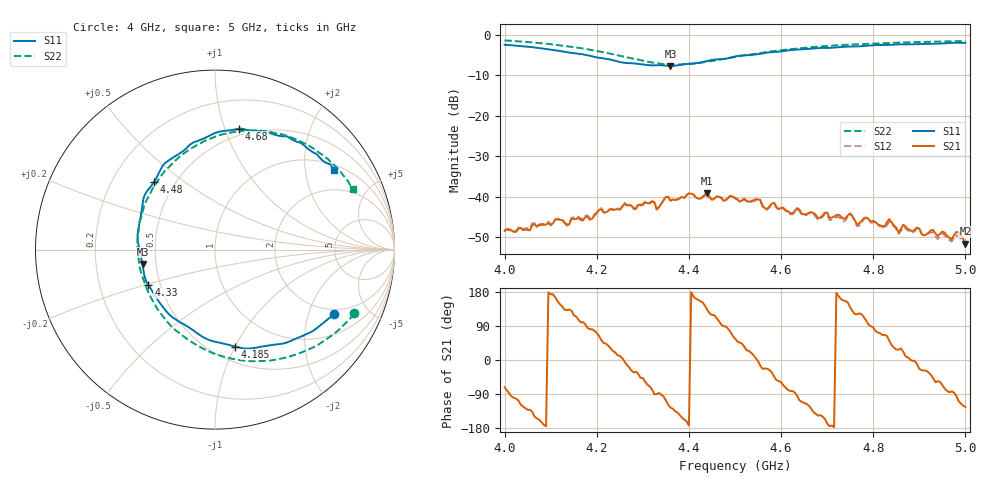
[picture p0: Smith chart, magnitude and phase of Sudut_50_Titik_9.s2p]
# Hz S RI R 50
! CMT, C1220, 16058040, 17.2.0/1
! Date: 15/08/2018 11:31:32
! Data: Format (Calibration Info)
! Freq  S11: Re/Im (F2)  S21: Re/Im (F2)  S12: Re/Im (F2)  S22: Re/Im (F2)
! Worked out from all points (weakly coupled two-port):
!   201 points, 4 GHz to 5 GHz, reference 50 ohm
!   highest |S21| = -39.17 dB at 4.44 GHz (marker M1); lowest = -51.6 dB at 5 GHz (marker M2)
!   lowest |S11| = -7.7 dB at 4.36 GHz (marker M3), VSWR 2.40, Z = 21 - j4.02 ohm
!   |S11| at or under -10 dB: nowhere
!   |S22| runs from -7.4 to -1.4 dB; largest |S21 - S12| = 0.00042
!   S11 on the Smith chart (normalised r, x): 4 GHz: 1.80, -2.98; 4.185 GHz: 0.64, -1.00; 4.33 GHz: 0.43, -0.21; 4.48 GHz: 0.38, +0.39; 4.68 GHz: 0.44, +1.12; 5 GHz: 1.18, +2.85
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4e9  0.6647 -0.3569  0.00116 -0.00358  0.00134 -0.00362  0.7747 -0.3559
4.17e9  0.1626 -0.5509  -0.000866 0.005  -0.000969 0.00518  0.2736 -0.6201
4.185e9  0.11 -0.5401  0.000781 0.00512  0.000773 0.00537  0.2094 -0.622
4.26e9  -0.1716 -0.4172  0.00812 -0.000498  0.00836 -0.000487  -0.1172 -0.5232
4.33e9  -0.3705 -0.1988  1.63e-05 -0.00691  -0.000111 -0.00699  -0.3556 -0.2693
4.335e9  -0.3807 -0.1813  0.000363 -0.00739  0.000183 -0.0074  -0.3674 -0.2461
4.36e9  -0.4039 -0.0794  -0.00519 -0.0072  -0.00537 -0.00719  -0.4128 -0.126
4.44e9  -0.4035 0.2517  -0.00733 0.0082  -0.00715 0.00822  -0.3878 0.2615
4.48e9  -0.3407 0.3764  0.000191 0.00908  0.000451 0.00895  -0.3001 0.4108
4.5e9  -0.3026 0.4468  0.00529 0.00806  0.00524 0.00791  -0.2455 0.4715
4.67e9  0.1158 0.6693  -0.00459 -0.00428  -0.00454 -0.00404  0.2479 0.6636
4.68e9  0.1346 0.6736  -0.00452 -0.00295  -0.00438 -0.00277  0.273 0.6603
4.75e9  0.2902 0.6556  -0.00467 0.00408  -0.00463 0.00382  0.4341 0.6205
4.765e9  0.3227 0.6434  -0.00229 0.00387  -0.00225 0.00367  0.4633 0.6094
4.785e9  0.3707 0.6318  -0.00125 0.00537  -0.00137 0.00527  0.5018 0.5901
4.825e9  0.4277 0.6143  0.00173 0.0039  0.00175 0.00365  0.5685 0.5492
4.835e9  0.4462 0.6049  0.00336 0.00405  0.00306 0.00382  0.5829 0.5383
4.855e9  0.478 0.5941  0.0032 0.00164  0.00305 0.00158  0.613 0.5162
4.865e9  0.4889 0.5867  0.00415 0.00168  0.00385 0.00166  0.6266 0.5062
4.97e9  0.6396 0.4759  0.000375 -0.00293  0.000287 -0.00277  0.7432 0.3769
4.985e9  0.6486 0.4663  -0.00109 -0.00344  -0.000919 -0.00311  0.7551 0.3556
5e9  0.6614 0.4431  -0.00146 -0.00218  -0.00125 -0.00209  0.7688 0.3358
